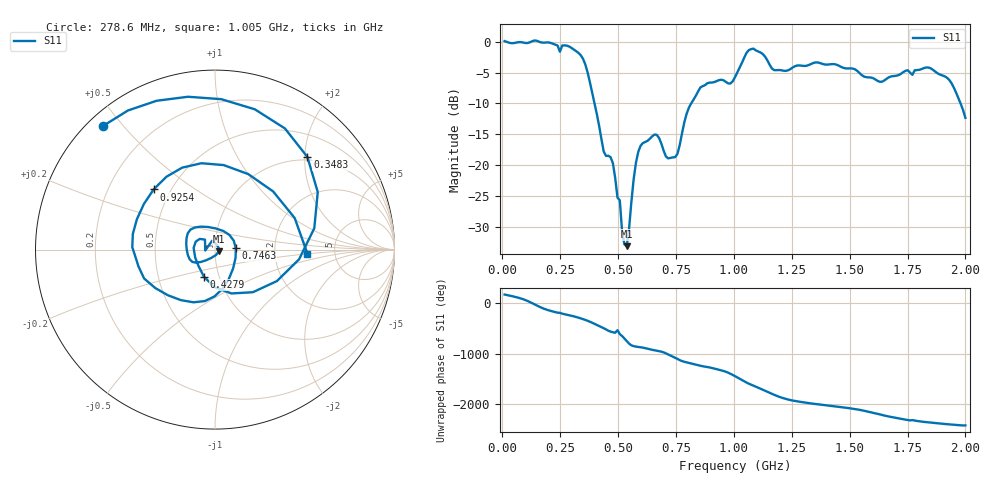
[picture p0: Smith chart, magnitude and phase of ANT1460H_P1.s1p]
!Created with skrf (http://scikit-rf.org).
# Hz S RI R 50.0
!freq ReS11 ImS11
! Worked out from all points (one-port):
!   201 points, 10 MHz to 2 GHz, reference 50 ohm
!   lowest |S11| = -33.1 dB at 537.4 MHz (marker M1), VSWR 1.05, Z = 52 - j1.08 ohm
!   |S11| at or under -10 dB: 398.3 MHz to 815.6 MHz (417.3 MHz wide, 68.8 % of centre); 1.979 GHz to end of sweep
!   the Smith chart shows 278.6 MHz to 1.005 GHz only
!   S11 on the Smith chart (normalised r, x): 278.6 MHz: 0.04, +0.44; 348.3 MHz: 0.93, +2.06; 427.9 MHz: 0.85, -0.26; 746.3 MHz: 1.26, +0.02; 925.4 MHz: 0.40, +0.35; 1.005 GHz: 3.12, -0.20
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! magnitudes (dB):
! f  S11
! 10 MHz  0.1
! 258.8 MHz  -0.6
! 278.6 MHz  -0.6
! 348.3 MHz  -2.7
! 427.9 MHz  -15.7
! 477.6 MHz  -19.7
! 497.6 MHz  -25.2
! 507.5 MHz  -25.7
! 517.5 MHz  -30.8
! 537.4 MHz  -33.1
! 567.2 MHz  -22.3
! 597 MHz  -16.9
! 666.7 MHz  -15.1
! 706.5 MHz  -18.6
! 746.3 MHz  -18.7
! 756.2 MHz  -18.2
! 816 MHz  -10.0
! 855.8 MHz  -7.4
! 925.4 MHz  -6.4
! 1.005 GHz  -5.7
! 1.085 GHz  -1.1
! 1.174 GHz  -4.6
! 1.254 GHz  -4.2
! 1.502 GHz  -4.3
! 1.632 GHz  -6.5
! 1.751 GHz  -4.6
! 1.92 GHz  -5.8
! 2 GHz  -12.3
